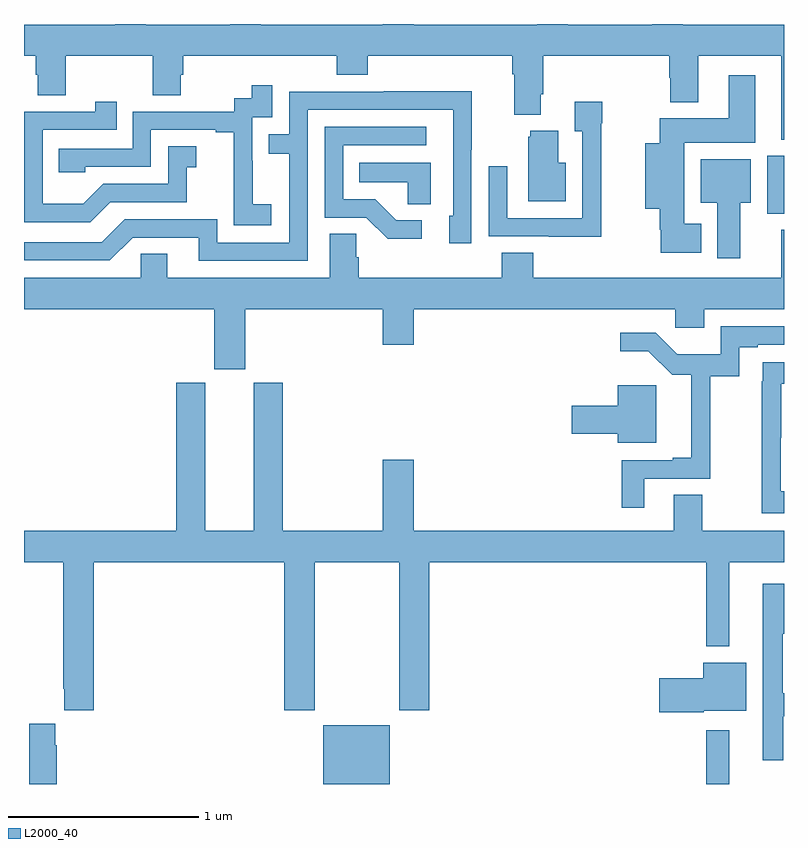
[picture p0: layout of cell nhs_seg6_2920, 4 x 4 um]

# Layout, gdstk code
import gdstk
lib = gdstk.Library(unit=1e-6, precision=1e-09)
def R(c, l, rs):  # rectangles x0, y0, x1, y1
    for r in rs: c.add(gdstk.rectangle(r[:2], r[2:], *l))
def P(c, l, *ps):  # polygons
    for p in ps: c.add(gdstk.Polygon(p, *l))
L2000_40 = (2000, 40)

nhs_seg6_2920 = lib.new_cell('nhs_seg6_2920')
R(nhs_seg6_2920, L2000_40, [(284.576,947.5,284.926,947.809), (286.59,947.5,286.711,947.782), (286.913,950.501,287,950.806)])
P(nhs_seg6_2920, L2000_40, [(287,951.496),(286.466,951.496),(286.466,951.5),(286.306,951.5),(286.306,951.496),(285.861,951.496),(285.861,951.5),(285.701,951.5),(285.701,951.496),(285.052,951.496),(285.052,951.5),(284.888,951.5),(284.888,951.496),(284.246,951.496),(284.246,951.5),(284.086,951.5),(284.086,951.496),(283.641,951.496),(283.641,951.5),(283.481,951.5),(283.481,951.496),(283,951.496),(283,951.332),(283.061,951.332),(283.061,951.234),(283.073,951.234),(283.073,951.124),(283.221,951.124),(283.221,951.332),(283.678,951.332),(283.678,951.124),(283.825,951.124),(283.825,951.234),(283.838,951.234),(283.838,951.332),(284.645,951.332),(284.645,951.233),(284.81,951.233),(284.81,951.332),(285.569,951.332),(285.569,951.236),(285.581,951.236),(285.581,951.023),(285.721,951.023),(285.721,951.13),(285.734,951.13),(285.734,951.332),(286.397,951.332),(286.397,951.216),(286.402,951.216),(286.402,951.089),(286.549,951.089),(286.549,951.332),(286.985,951.332),(286.985,950.891),(287,950.891)],
  [(286.564,950.449),(286.474,950.449),(286.474,950.876),(286.849,950.876),(286.849,951.229),(286.709,951.229),(286.709,951.004),(286.345,951.004),(286.345,950.872),(286.271,950.872),(286.271,950.528),(286.345,950.528),(286.345,950.417),(286.352,950.417),(286.352,950.297),(286.564,950.297)],
  [(284.302,950.551),(284.204,950.551),(284.204,950.78),(284.202,950.78),(284.202,951.009),(284.307,951.009),(284.307,951.178),(284.199,951.178),(284.199,951.108),(284.106,951.108),(284.106,951.039),(283.572,951.039),(283.572,950.844),(283.183,950.844),(283.183,950.721),(283.323,950.721),(283.323,950.748),(283.668,950.748),(283.668,950.943),(284.009,950.943),(284.009,950.931),(284.105,950.931),(284.105,950.647),(284.104,950.647),(284.104,950.441),(284.302,950.441)],
  [(284.493,951.048),(285.258,951.048),(285.258,950.49),(285.239,950.49),(285.239,950.346),(285.354,950.346),(285.354,950.839),(285.357,950.839),(285.357,951.146),(284.893,951.146),(284.893,951.144),(284.397,951.144),(284.397,950.919),(284.287,950.919),(284.287,950.818),(284.397,950.818),(284.397,950.349),(284.016,950.349),(284.016,950.472),(283.53,950.472),(283.41,950.352),(283,950.352),(283,950.256),(283.452,950.256),(283.572,950.376),(283.919,950.376),(283.919,950.253),(284.493,950.253)],
  [(286.038,950.978),(286.043,950.978),(286.043,951.091),(285.899,951.091),(285.899,950.935),(285.939,950.935),(285.939,950.478),(285.543,950.478),(285.543,950.752),(285.447,950.752),(285.447,950.382),(285.763,950.382),(285.763,950.381),(286.038,950.381)],
  [(283.453,950.562),(283.857,950.562),(283.857,950.747),(283.906,950.747),(283.906,950.857),(283.758,950.857),(283.758,950.658),(283.416,950.658),(283.312,950.554),(283.098,950.554),(283.098,950.943),(283.487,950.943),(283.487,951.091),(283.376,951.091),(283.376,951.039),(283,951.039),(283,950.943),(283.002,950.943),(283.002,950.457),(283.348,950.457)],
  [(285.094,950.466),(284.959,950.466),(284.848,950.577),(284.679,950.577),(284.679,950.862),(285.118,950.862),(285.118,950.958),(284.583,950.958),(284.583,950.481),(284.802,950.481),(284.915,950.369),(285.094,950.369)],
  [(285.85,950.77),(285.811,950.77),(285.811,950.938),(285.665,950.938),(285.665,950.907),(285.653,950.907),(285.653,950.567),(285.85,950.567)],
  [(286.771,950.558),(286.825,950.558),(286.825,950.788),(286.562,950.788),(286.562,950.558),(286.649,950.558),(286.649,950.268),(286.771,950.268)],
  [(285.142,950.77),(284.764,950.77),(284.764,950.666),(285.021,950.666),(285.021,950.551),(285.142,950.551)],
  [(284.164,950),(284.888,950),(284.888,949.812),(285.052,949.812),(285.052,950),(286.428,950),(286.428,949.902),(286.579,949.902),(286.579,950),(287,950),(287,950.416),(286.985,950.416),(286.985,950.164),(285.68,950.164),(285.68,950.297),(285.515,950.297),(285.515,950.164),(284.762,950.164),(284.762,950.273),(284.748,950.273),(284.748,950.396),(284.609,950.396),(284.609,950.164),(283.753,950.164),(283.753,950.291),(283.614,950.291),(283.614,950.164),(283,950.164),(283,950),(284,950),(284,949.683),(284.164,949.683)],
  [(286.264,949.107),(286.613,949.107),(286.613,949.645),(286.764,949.645),(286.764,949.798),(286.861,949.798),(286.861,949.812),(287,949.812),(287,949.908),(286.668,949.908),(286.668,949.762),(286.439,949.762),(286.326,949.875),(286.137,949.875),(286.137,949.778),(286.285,949.778),(286.411,949.653),(286.511,949.653),(286.511,949.216),(286.415,949.216),(286.415,949.203),(286.147,949.203),(286.147,948.954),(286.264,948.954)],
  [(287,949.04),(286.984,949.04),(286.984,949.323),(286.986,949.323),(286.986,949.606),(287,949.606),(287,949.721),(286.888,949.721),(286.888,949.619),(286.882,949.619),(286.882,948.924),(287,948.924)],
  [(284.369,947.889),(284.529,947.889),(284.529,948.668),(284.974,948.668),(284.974,947.889),(285.134,947.889),(285.134,948.668),(286.59,948.668),(286.59,948.224),(286.711,948.224),(286.711,948.668),(287,948.668),(287,948.832),(286.569,948.832),(286.569,949.022),(286.421,949.022),(286.421,948.832),(285.052,948.832),(285.052,949.207),(284.888,949.207),(284.888,948.832),(284.363,948.832),(284.363,949.611),(284.21,949.611),(284.21,948.832),(283.954,948.832),(283.954,949.611),(283.802,949.611),(283.802,948.832),(283,948.832),(283,948.668),(283.207,948.668),(283.207,948.001),(283.211,948.001),(283.211,947.889),(283.367,947.889),(283.367,948.668),(284.369,948.668)],
  [(286.327,949.6),(286.124,949.6),(286.124,949.49),(285.882,949.49),(285.882,949.343),(286.124,949.343),(286.124,949.295),(286.327,949.295)],
  [(286.996,947.856),(287,947.856),(287,947.977),(286.993,947.977),(286.993,948.29),(287,948.29),(287,948.553),(286.889,948.553),(286.889,947.625),(286.996,947.625)],
  [(286.578,947.885),(286.801,947.885),(286.801,948.139),(286.574,948.139),(286.574,948.056),(286.344,948.056),(286.344,947.878),(286.578,947.878)],
  [(283.165,947.705),(283.165,947.818),(283.028,947.818),(283.028,947.5),(283.172,947.5),(283.172,947.705)])

lib.write_gds('nhs_seg6_2920.gds')
